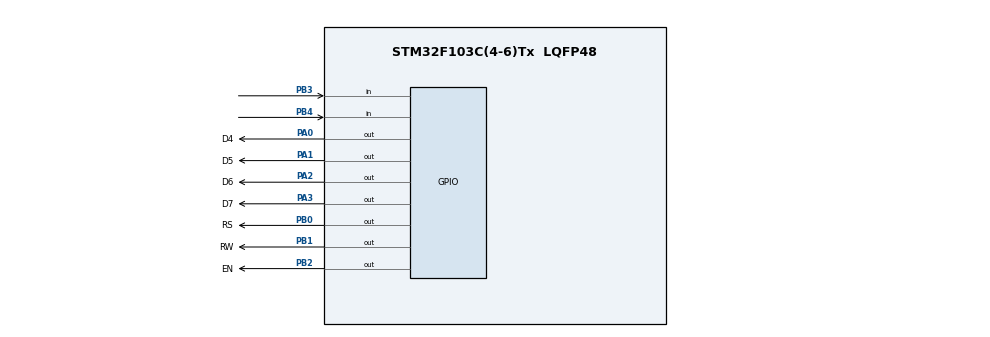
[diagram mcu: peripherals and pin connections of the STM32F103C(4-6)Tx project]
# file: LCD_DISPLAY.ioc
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Mcu.Family=STM32F1
Mcu.Name=STM32F103C(4-6)Tx
Mcu.Package=LQFP48
NVIC.PriorityGroup=NVIC_PRIORITYGROUP_4
PA0-WKUP.GPIO_Label=D4
PA0-WKUP.Signal=GPIO_Output
PA1.GPIO_Label=D5
PA1.Signal=GPIO_Output
PA2.GPIO_Label=D6
PA2.Signal=GPIO_Output
PA3.GPIO_Label=D7
PA3.Signal=GPIO_Output
PB0.GPIO_Label=RS
PB0.Signal=GPIO_Output
PB1.GPIO_Label=RW
PB1.Signal=GPIO_Output
PB2.GPIO_Label=EN
PB2.Signal=GPIO_Output
PB3.GPIO_PuPd=GPIO_PULLUP
PB3.Signal=GPIO_Input
PB4.GPIO_PuPd=GPIO_PULLUP
PB4.Signal=GPIO_Input
ProjectManager.HeapSize=0x200
ProjectManager.StackSize=0x400
ProjectManager.TargetToolchain=STM32CubeIDE
RCC.APB1Freq_Value=8000000
RCC.APB2Freq_Value=8000000
board=custom

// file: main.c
/* USER CODE BEGIN Header */
/**
  ******************************************************************************
  * @file           : main.c
  * @brief          : Main program body
  ******************************************************************************
  * @attention
  *
  * Copyright (c) 2023 STMicroelectronics.
  * All rights reserved.
  *
  * This software is licensed under terms that can be found in the LICENSE file
  * in the root directory of this software component.
  * If no LICENSE file comes with this software, it is provided AS-IS.
  *
  ******************************************************************************
  */
/* USER CODE END Header */
#include "main.h"
#include "stdio.h"
/* USER CODE BEGIN Includes */
void lcd_init(void);
void send_command(uint8_t data);
void send_Idata(uint8_t data);
void send_data(uint8_t data);
void lcd_puts(uint8_t *str);
void lcd_clear(void);
void lcd_gotoxy(uint8_t x, uint8_t y);
/* USER CODE END Includes */

void SystemClock_Config(void);
static void MX_GPIO_Init(void);

/* USER CODE BEGIN 0 */
void lcd_init(void)
{
  HAL_Delay(2);
  send_command(0x02);
  send_command(0x28);
  send_command(0x0F);
}

void send_command(uint8_t data)
{
	HAL_Delay(2);
	HAL_GPIO_WritePin(GPIOB,GPIO_PIN_0,GPIO_PIN_RESET);
	HAL_GPIO_WritePin(GPIOB,GPIO_PIN_1,GPIO_PIN_RESET);

	send_Idata(data >>4);
	send_Idata(data);

}

void send_Idata(uint8_t data)
{
	HAL_Delay(10);
	int temp[4];

	for (int i=0; i<4;i++)
	{

		temp[i]=data%2;
		data=data>>1;

	}

	HAL_GPIO_WritePin(GPIOA,GPIO_PIN_0,temp[0]);
	HAL_GPIO_WritePin(GPIOA,GPIO_PIN_1,temp[1]);
	HAL_GPIO_WritePin(GPIOA,GPIO_PIN_2,temp[2]);
	HAL_GPIO_WritePin(GPIOA,GPIO_PIN_3,temp[3]);

	HAL_GPIO_WritePin(GPIOB,GPIO_PIN_2,GPIO_PIN_SET);
	HAL_Delay(2);
	HAL_GPIO_WritePin(GPIOB,GPIO_PIN_2,GPIO_PIN_RESET);

}

void send_data(uint8_t data)
{
	HAL_Delay(2);
	HAL_GPIO_WritePin(GPIOB,GPIO_PIN_0,GPIO_PIN_SET);
	HAL_GPIO_WritePin(GPIOB,GPIO_PIN_1,GPIO_PIN_RESET);

	send_Idata(data >>4);

	send_Idata(data);

}

void lcd_puts(uint8_t *str)
{
  HAL_Delay(2);
  while(*str !=0x00)
  {
	  send_data(*str);
    str++;
  }
}

void lcd_clear(void)
{
  HAL_Delay(1);
  send_command(0x01);

}

void lcd_gotoxy(uint8_t x, uint8_t y)
{
  HAL_Delay(1);

    switch(y){
    case 0:
      send_command( 0x80 + x );
    break;
    case 1:
      send_command( 0xC0 + x );
      break;

  }
}

/* USER CODE END 0 */

int main(void)
{
  /* USER CODE BEGIN 1 */
int counter=0;
uint8_t str[32];
  /* USER CODE END 1 */

  /* MCU Configuration--------------------------------------------------------*/

  /* Reset of all peripherals, Initializes the Flash interface and the Systick. */
  HAL_Init();

  /* Configure the system clock */
  SystemClock_Config();

  /* Initialize all configured peripherals */
  MX_GPIO_Init();
  /* USER CODE BEGIN 2 */
  lcd_init();
  //sprintf(str,"counter=%d",counter);
  lcd_puts((uint8_t *) "WELLCOME");

  /* USER CODE END 2 */

  /* Infinite loop */
  while (1)
  {

    /* USER CODE BEGIN 3 */

	  if(HAL_GPIO_ReadPin(GPIOB, GPIO_PIN_3)==0){
	 		  counter++;
	 		 if(counter>120){
	 		 		  counter=0;
	 		 	  }
	 		 lcd_gotoxy(0,1 );
	 			  sprintf(str,"counter=%d",counter);
	 			  lcd_puts(str);
	 	  }
	  if(HAL_GPIO_ReadPin(GPIOB, GPIO_PIN_4)==0){
			  counter--;
			  if(counter<0){
				  counter=120;
			  }
			  lcd_gotoxy(0,1 );
			 	  sprintf(str,"counter=%d",counter);
			 	  lcd_puts(str);
		  }

  }
  /* USER CODE END 3 */
}

void SystemClock_Config(void)
{
  RCC_OscInitTypeDef RCC_OscInitStruct = {0};
  RCC_ClkInitTypeDef RCC_ClkInitStruct = {0};

  /** Initializes the RCC Oscillators according to the specified parameters
  * in the RCC_OscInitTypeDef structure.
  */
  RCC_OscInitStruct.OscillatorType = RCC_OSCILLATORTYPE_HSI;
  RCC_OscInitStruct.HSIState = RCC_HSI_ON;
  RCC_OscInitStruct.HSICalibrationValue = RCC_HSICALIBRATION_DEFAULT;
  RCC_OscInitStruct.PLL.PLLState = RCC_PLL_NONE;
  if (HAL_RCC_OscConfig(&RCC_OscInitStruct) != HAL_OK)
  {
    Error_Handler();
  }

  /** Initializes the CPU, AHB and APB buses clocks
  */
  RCC_ClkInitStruct.ClockType = RCC_CLOCKTYPE_HCLK|RCC_CLOCKTYPE_SYSCLK
                              |RCC_CLOCKTYPE_PCLK1|RCC_CLOCKTYPE_PCLK2;
  RCC_ClkInitStruct.SYSCLKSource = RCC_SYSCLKSOURCE_HSI;
  RCC_ClkInitStruct.AHBCLKDivider = RCC_SYSCLK_DIV1;
  RCC_ClkInitStruct.APB1CLKDivider = RCC_HCLK_DIV1;
  RCC_ClkInitStruct.APB2CLKDivider = RCC_HCLK_DIV1;

  if (HAL_RCC_ClockConfig(&RCC_ClkInitStruct, FLASH_LATENCY_0) != HAL_OK)
  {
    Error_Handler();
  }
}

static void MX_GPIO_Init(void)
{
  GPIO_InitTypeDef GPIO_InitStruct = {0};

  /* GPIO Ports Clock Enable */
  __HAL_RCC_GPIOA_CLK_ENABLE();
  __HAL_RCC_GPIOB_CLK_ENABLE();

  /*Configure GPIO pin Output Level */
  HAL_GPIO_WritePin(GPIOA, D4_Pin|D5_Pin|D6_Pin|D7_Pin, GPIO_PIN_RESET);

  /*Configure GPIO pin Output Level */
  HAL_GPIO_WritePin(GPIOB, RS_Pin|RW_Pin|EN_Pin, GPIO_PIN_RESET);

  /*Configure GPIO pins : D4_Pin D5_Pin D6_Pin D7_Pin */
  GPIO_InitStruct.Pin = D4_Pin|D5_Pin|D6_Pin|D7_Pin;
  GPIO_InitStruct.Mode = GPIO_MODE_OUTPUT_PP;
  GPIO_InitStruct.Pull = GPIO_NOPULL;
  GPIO_InitStruct.Speed = GPIO_SPEED_FREQ_LOW;
  HAL_GPIO_Init(GPIOA, &GPIO_InitStruct);

  /*Configure GPIO pins : RS_Pin RW_Pin EN_Pin */
  GPIO_InitStruct.Pin = RS_Pin|RW_Pin|EN_Pin;
  GPIO_InitStruct.Mode = GPIO_MODE_OUTPUT_PP;
  GPIO_InitStruct.Pull = GPIO_NOPULL;
  GPIO_InitStruct.Speed = GPIO_SPEED_FREQ_LOW;
  HAL_GPIO_Init(GPIOB, &GPIO_InitStruct);

  /*Configure GPIO pins : PB3 PB4 */
  GPIO_InitStruct.Pin = GPIO_PIN_3|GPIO_PIN_4;
  GPIO_InitStruct.Mode = GPIO_MODE_INPUT;
  GPIO_InitStruct.Pull = GPIO_PULLUP;
  HAL_GPIO_Init(GPIOB, &GPIO_InitStruct);

}

void Error_Handler(void)
{
  __disable_irq();
  while (1)
  {
  }
}
